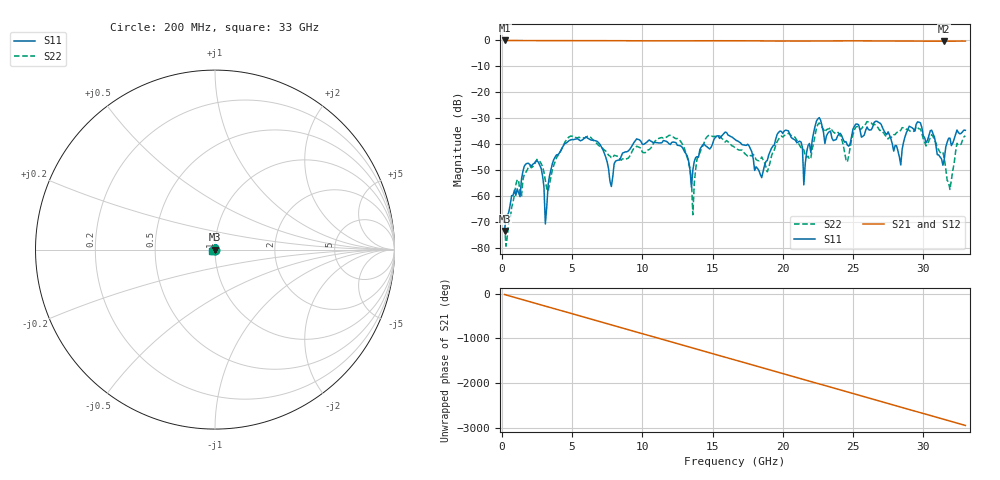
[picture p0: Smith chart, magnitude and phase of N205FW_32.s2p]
# GHZ S RI R 50
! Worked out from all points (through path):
!   329 points, 200 MHz to 33 GHz, reference 50 ohm
!   highest |S21| = -0.02 dB at 200 MHz (marker M1); lowest = -0.3 dB at 31.5 GHz (marker M2)
!   group delay of S21, straight-line fit = 248 ps
!   lowest |S11| = -73.4 dB at 200 MHz (marker M3), VSWR 1.00, Z = 50 + j0.0107 ohm
!   |S11| at or under -10 dB: start of sweep to end of sweep
!   |S22| runs from -79.2 to -31.3 dB; largest |S21 - S12| = 0.0022
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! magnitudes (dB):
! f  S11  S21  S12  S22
! 200 MHz  -73.4  0.0  0.0  -71.9
! 1.7 GHz  -47.7  -0.1  -0.1  -50.9
! 2.8 GHz  -49.3  -0.1  -0.1  -47.4
! 3.1 GHz  -70.7  -0.1  -0.1  -53.9
! 3.7 GHz  -45.9  -0.1  -0.1  -48.1
! 5.7 GHz  -38.4  -0.1  -0.1  -37.5
! 7.8 GHz  -56.3  -0.1  -0.1  -45.1
! 11.2 GHz  -39.5  -0.2  -0.2  -37.7
! 13 GHz  -42.8  -0.2  -0.2  -41.6
! 13.6 GHz  -49.9  -0.2  -0.2  -67.1
! 13.9 GHz  -44.7  -0.2  -0.2  -45.6
! 14.5 GHz  -40.5  -0.1  -0.1  -37.9
! 16.6 GHz  -38.2  -0.1  -0.1  -41.4
! 18.5 GHz  -52.8  -0.2  -0.2  -44.9
! 20.4 GHz  -34.8  -0.2  -0.2  -35.7
! 21.3 GHz  -39.1  -0.2  -0.2  -41.3
! 21.5 GHz  -55.6  -0.3  -0.3  -42.2
! 22.1 GHz  -38.3  -0.2  -0.2  -41.7
! 27.6 GHz  -36.5  -0.2  -0.2  -37.3
! 31.5 GHz  -45.7  -0.3  -0.3  -45.5
! 31.9 GHz  -37.6  -0.3  -0.3  -57.4
! 33 GHz  -34.6  -0.3  -0.3  -36.7
